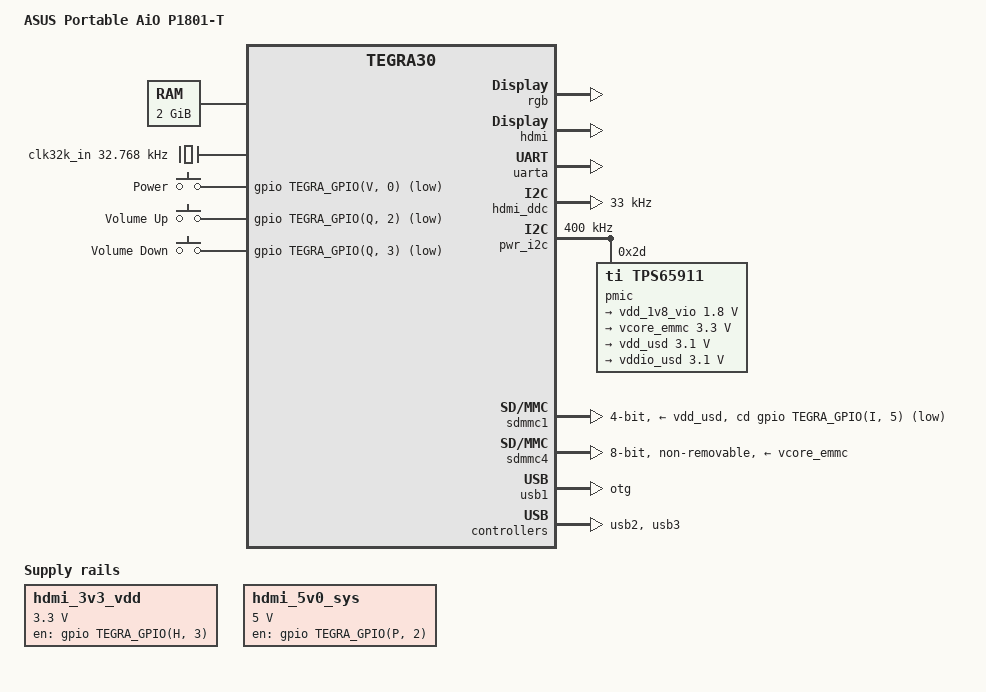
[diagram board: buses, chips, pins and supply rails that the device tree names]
// SPDX-License-Identifier: GPL-2.0
/dts-v1/;

#include <dt-bindings/input/input.h>
#include "tegra30.dtsi"

/ {
	model = "ASUS Portable AiO P1801-T";
	compatible = "asus,p1801-t", "nvidia,tegra30";

	chosen {
		stdout-path = &uarta;
	};

	aliases {
		i2c0 = &pwr_i2c;
		i2c1 = &hdmi_ddc;

		mmc0 = &sdmmc4;	/* eMMC */
		mmc1 = &sdmmc1; /* uSD slot */

		rtc0 = &pmic;
		rtc1 = "/rtc@7000e000";

		usb0 = &usb1;
		usb1 = &usb2; /* Mini USB */
		usb2 = &usb3; /* Dock USB */
	};

	memory {
		device_type = "memory";
		reg = <0x80000000 0x80000000>;
	};

	host1x@50000000 {
		dc@54200000 {
			clocks = <&tegra_car TEGRA30_CLK_DISP1>,
				 <&tegra_car TEGRA30_CLK_PLL_D_OUT0>;

			rgb {
				status = "okay";

				nvidia,panel = <&hdmi>;
			};
		};

		hdmi: hdmi@54280000 {
			clocks = <&tegra_car TEGRA30_CLK_HDMI>,
				 <&tegra_car TEGRA30_CLK_PLL_D_OUT0>;

			status = "okay";

			hdmi-supply = <&hdmi_5v0_sys>;
			pll-supply = <&vdd_1v8_vio>;
			vdd-supply = <&hdmi_3v3_vdd>;

			/* low: tablet, high: dock */
			nvidia,hpd-gpio = <&gpio TEGRA_GPIO(H, 4) GPIO_ACTIVE_LOW>;
			nvidia,ddc-i2c-bus = <&hdmi_ddc>;
		};
	};

	pinmux@70000868 {
		pinctrl-names = "default";
		pinctrl-0 = <&state_default>;

		state_default: pinmux {
			/* SDMMC1 pinmux */
			sdmmc1_clk {
				nvidia,pins = "sdmmc1_clk_pz0";
				nvidia,function = "sdmmc1";
				nvidia,pull = <TEGRA_PIN_PULL_NONE>;
				nvidia,tristate = <TEGRA_PIN_DISABLE>;
				nvidia,enable-input = <TEGRA_PIN_ENABLE>;
			};
			sdmmc1_cmd {
				nvidia,pins = "sdmmc1_dat3_py4",
						"sdmmc1_dat2_py5",
						"sdmmc1_dat1_py6",
						"sdmmc1_dat0_py7",
						"sdmmc1_cmd_pz1";
				nvidia,function = "sdmmc1";
				nvidia,pull = <TEGRA_PIN_PULL_UP>;
				nvidia,tristate = <TEGRA_PIN_DISABLE>;
				nvidia,enable-input = <TEGRA_PIN_ENABLE>;
			};
			sdmmc1_cd {
				nvidia,pins = "gmi_iordy_pi5";
				nvidia,function = "rsvd1";
				nvidia,pull = <TEGRA_PIN_PULL_UP>;
				nvidia,tristate = <TEGRA_PIN_DISABLE>;
				nvidia,enable-input = <TEGRA_PIN_ENABLE>;
			};
			sdmmc1_wp {
				nvidia,pins = "vi_d11_pt3";
				nvidia,function = "rsvd2";
				nvidia,pull = <TEGRA_PIN_PULL_UP>;
				nvidia,tristate = <TEGRA_PIN_DISABLE>;
				nvidia,enable-input = <TEGRA_PIN_ENABLE>;
			};

			/* SDMMC2 pinmux */
			vi_d1_pd5 {
				nvidia,pins = "vi_d1_pd5",
						"vi_d2_pl0",
						"vi_d3_pl1",
						"vi_d5_pl3",
						"vi_d7_pl5";
				nvidia,function = "sdmmc2";
				nvidia,pull = <TEGRA_PIN_PULL_NONE>;
				nvidia,tristate = <TEGRA_PIN_DISABLE>;
				nvidia,enable-input = <TEGRA_PIN_ENABLE>;
			};
			vi_d8_pl6 {
				nvidia,pins = "vi_d8_pl6",
						"vi_d9_pl7";
				nvidia,function = "sdmmc2";
				nvidia,pull = <TEGRA_PIN_PULL_NONE>;
				nvidia,tristate = <TEGRA_PIN_DISABLE>;
				nvidia,enable-input = <TEGRA_PIN_ENABLE>;
				nvidia,lock = <0>;
				nvidia,ioreset = <0>;
			};

			/* SDMMC3 pinmux */
			sdmmc3_clk {
				nvidia,pins = "sdmmc3_clk_pa6";
				nvidia,function = "sdmmc3";
				nvidia,pull = <TEGRA_PIN_PULL_NONE>;
				nvidia,tristate = <TEGRA_PIN_DISABLE>;
				nvidia,enable-input = <TEGRA_PIN_ENABLE>;
			};
			sdmmc3_cmd {
				nvidia,pins = "sdmmc3_cmd_pa7",
						"sdmmc3_dat0_pb7",
						"sdmmc3_dat1_pb6",
						"sdmmc3_dat2_pb5",
						"sdmmc3_dat3_pb4",
						"sdmmc3_dat4_pd1",
						"sdmmc3_dat5_pd0",
						"sdmmc3_dat6_pd3",
						"sdmmc3_dat7_pd4";
				nvidia,function = "sdmmc3";
				nvidia,pull = <TEGRA_PIN_PULL_UP>;
				nvidia,tristate = <TEGRA_PIN_DISABLE>;
				nvidia,enable-input = <TEGRA_PIN_ENABLE>;
			};

			/* SDMMC4 pinmux */
			sdmmc4_clk {
				nvidia,pins = "sdmmc4_clk_pcc4";
				nvidia,function = "sdmmc4";
				nvidia,pull = <TEGRA_PIN_PULL_NONE>;
				nvidia,tristate = <TEGRA_PIN_DISABLE>;
				nvidia,enable-input = <TEGRA_PIN_ENABLE>;
			};
			sdmmc4_cmd {
				nvidia,pins = "sdmmc4_cmd_pt7",
						"sdmmc4_dat0_paa0",
						"sdmmc4_dat1_paa1",
						"sdmmc4_dat2_paa2",
						"sdmmc4_dat3_paa3",
						"sdmmc4_dat4_paa4",
						"sdmmc4_dat5_paa5",
						"sdmmc4_dat6_paa6",
						"sdmmc4_dat7_paa7";
				nvidia,function = "sdmmc4";
				nvidia,pull = <TEGRA_PIN_PULL_UP>;
				nvidia,tristate = <TEGRA_PIN_DISABLE>;
				nvidia,enable-input = <TEGRA_PIN_ENABLE>;
			};
			sdmmc4_rst_n {
				nvidia,pins = "sdmmc4_rst_n_pcc3";
				nvidia,function = "rsvd2";
				nvidia,pull = <TEGRA_PIN_PULL_DOWN>;
				nvidia,tristate = <TEGRA_PIN_DISABLE>;
				nvidia,enable-input = <TEGRA_PIN_ENABLE>;
			};
			cam_mclk {
				nvidia,pins = "cam_mclk_pcc0";
				nvidia,function = "vi_alt3";
				nvidia,pull = <TEGRA_PIN_PULL_UP>;
				nvidia,tristate = <TEGRA_PIN_DISABLE>;
				nvidia,enable-input = <TEGRA_PIN_ENABLE>;
			};
			drive_sdmmc4 {
				nvidia,pins = "drive_gma",
						"drive_gmb",
						"drive_gmc",
						"drive_gmd";
				nvidia,pull-down-strength = <9>;
				nvidia,pull-up-strength = <9>;
				nvidia,slew-rate-rising = <TEGRA_PIN_SLEW_RATE_SLOWEST>;
				nvidia,slew-rate-falling = <TEGRA_PIN_SLEW_RATE_SLOWEST>;
			};

			/* I2C pinmux */
			gen1_i2c {
				nvidia,pins = "gen1_i2c_scl_pc4",
						"gen1_i2c_sda_pc5";
				nvidia,function = "i2c1";
				nvidia,pull = <TEGRA_PIN_PULL_NONE>;
				nvidia,tristate = <TEGRA_PIN_DISABLE>;
				nvidia,enable-input = <TEGRA_PIN_ENABLE>;
				nvidia,open-drain = <TEGRA_PIN_ENABLE>;
				nvidia,lock = <0>;
			};
			gen2_i2c {
				nvidia,pins = "gen2_i2c_scl_pt5",
						"gen2_i2c_sda_pt6";
				nvidia,function = "i2c2";
				nvidia,pull = <TEGRA_PIN_PULL_NONE>;
				nvidia,tristate = <TEGRA_PIN_DISABLE>;
				nvidia,enable-input = <TEGRA_PIN_ENABLE>;
				nvidia,open-drain = <TEGRA_PIN_ENABLE>;
				nvidia,lock = <0>;
			};
			cam_i2c {
				nvidia,pins = "cam_i2c_scl_pbb1",
						"cam_i2c_sda_pbb2";
				nvidia,function = "i2c3";
				nvidia,pull = <TEGRA_PIN_PULL_NONE>;
				nvidia,tristate = <TEGRA_PIN_DISABLE>;
				nvidia,enable-input = <TEGRA_PIN_ENABLE>;
				nvidia,open-drain = <TEGRA_PIN_ENABLE>;
				nvidia,lock = <0>;
			};
			ddc_i2c {
				nvidia,pins = "ddc_scl_pv4",
						"ddc_sda_pv5";
				nvidia,function = "i2c4";
				nvidia,pull = <TEGRA_PIN_PULL_NONE>;
				nvidia,tristate = <TEGRA_PIN_DISABLE>;
				nvidia,enable-input = <TEGRA_PIN_ENABLE>;
				nvidia,lock = <0>;
			};
			pwr_i2c {
				nvidia,pins = "pwr_i2c_scl_pz6",
						"pwr_i2c_sda_pz7";
				nvidia,function = "i2cpwr";
				nvidia,pull = <TEGRA_PIN_PULL_NONE>;
				nvidia,tristate = <TEGRA_PIN_DISABLE>;
				nvidia,enable-input = <TEGRA_PIN_ENABLE>;
				nvidia,open-drain = <TEGRA_PIN_ENABLE>;
				nvidia,lock = <0>;
			};
			hotplug_i2c {
				nvidia,pins = "pu4";
				nvidia,function = "rsvd4";
				nvidia,pull = <TEGRA_PIN_PULL_UP>;
				nvidia,tristate = <TEGRA_PIN_DISABLE>;
				nvidia,enable-input = <TEGRA_PIN_ENABLE>;
			};

			/* HDMI pinmux */
			hdmi_cec {
				nvidia,pins = "hdmi_cec_pee3";
				nvidia,function = "cec";
				nvidia,pull = <TEGRA_PIN_PULL_NONE>;
				nvidia,tristate = <TEGRA_PIN_DISABLE>;
				nvidia,enable-input = <TEGRA_PIN_ENABLE>;
				nvidia,open-drain = <TEGRA_PIN_ENABLE>;
				nvidia,lock = <0>;
			};
			hdmi_hpd {
				nvidia,pins = "hdmi_int_pn7";
				nvidia,function = "hdmi";
				nvidia,pull = <TEGRA_PIN_PULL_NONE>;
				nvidia,tristate = <TEGRA_PIN_ENABLE>;
				nvidia,enable-input = <TEGRA_PIN_ENABLE>;
			};

			/* UART-A */
			ulpi_data0_po1 {
				nvidia,pins = "ulpi_data0_po1";
				nvidia,function = "uarta";
				nvidia,pull = <TEGRA_PIN_PULL_NONE>;
				nvidia,tristate = <TEGRA_PIN_DISABLE>;
				nvidia,enable-input = <TEGRA_PIN_DISABLE>;
			};
			ulpi_data1_po2 {
				nvidia,pins = "ulpi_data1_po2";
				nvidia,function = "uarta";
				nvidia,pull = <TEGRA_PIN_PULL_DOWN>;
				nvidia,tristate = <TEGRA_PIN_ENABLE>;
				nvidia,enable-input = <TEGRA_PIN_ENABLE>;
			};
			ulpi_data5_po6 {
				nvidia,pins = "ulpi_data5_po6";
				nvidia,function = "uarta";
				nvidia,pull = <TEGRA_PIN_PULL_NONE>;
				nvidia,tristate = <TEGRA_PIN_ENABLE>;
				nvidia,enable-input = <TEGRA_PIN_ENABLE>;
			};
			ulpi_data7_po0 {
				nvidia,pins = "ulpi_data7_po0",
						"ulpi_data2_po3",
						"ulpi_data3_po4",
						"ulpi_data4_po5",
						"ulpi_data6_po7";
				nvidia,function = "uarta";
				nvidia,pull = <TEGRA_PIN_PULL_NONE>;
				nvidia,tristate = <TEGRA_PIN_DISABLE>;
				nvidia,enable-input = <TEGRA_PIN_ENABLE>;
			};

			/* UART-B */
			uartb_txd_rts {
				nvidia,pins = "uart2_txd_pc2",
						"uart2_rts_n_pj6";
				nvidia,function = "uartb";
				nvidia,pull = <TEGRA_PIN_PULL_NONE>;
				nvidia,tristate = <TEGRA_PIN_DISABLE>;
				nvidia,enable-input = <TEGRA_PIN_DISABLE>;
			};
			uartb_rxd_cts {
				nvidia,pins = "uart2_rxd_pc3",
						"uart2_cts_n_pj5";
				nvidia,function = "uartb";
				nvidia,pull = <TEGRA_PIN_PULL_NONE>;
				nvidia,tristate = <TEGRA_PIN_DISABLE>;
				nvidia,enable-input = <TEGRA_PIN_ENABLE>;
			};

			/* UART-C */
			uartc_rxd_cts {
				nvidia,pins = "uart3_cts_n_pa1",
						"uart3_rxd_pw7";
				nvidia,function = "uartc";
				nvidia,pull = <TEGRA_PIN_PULL_NONE>;
				nvidia,tristate = <TEGRA_PIN_DISABLE>;
				nvidia,enable-input = <TEGRA_PIN_ENABLE>;
			};
			uartc_txd_rts {
				nvidia,pins = "uart3_rts_n_pc0",
						"uart3_txd_pw6";
				nvidia,function = "uartc";
				nvidia,pull = <TEGRA_PIN_PULL_NONE>;
				nvidia,tristate = <TEGRA_PIN_DISABLE>;
				nvidia,enable-input = <TEGRA_PIN_DISABLE>;
			};

			/* UART-D */
			ulpi_nxt_py2 {
				nvidia,pins = "ulpi_nxt_py2";
				nvidia,function = "uartd";
				nvidia,pull = <TEGRA_PIN_PULL_NONE>;
				nvidia,tristate = <TEGRA_PIN_ENABLE>;
				nvidia,enable-input = <TEGRA_PIN_ENABLE>;
			};
			ulpi_clk_py0 {
				nvidia,pins = "ulpi_clk_py0",
						"ulpi_dir_py1",
						"ulpi_stp_py3";
				nvidia,function = "uartd";
				nvidia,pull = <TEGRA_PIN_PULL_NONE>;
				nvidia,tristate = <TEGRA_PIN_ENABLE>;
				nvidia,enable-input = <TEGRA_PIN_DISABLE>;
			};

			/* I2S pinmux */
			dap_i2s0 {
				nvidia,pins = "dap1_fs_pn0",
						"dap1_din_pn1",
						"dap1_dout_pn2",
						"dap1_sclk_pn3";
				nvidia,function = "i2s0";
				nvidia,pull = <TEGRA_PIN_PULL_NONE>;
				nvidia,tristate = <TEGRA_PIN_ENABLE>;
				nvidia,enable-input = <TEGRA_PIN_ENABLE>;
			};
			dap_i2s1 {
				nvidia,pins = "dap2_fs_pa2",
						"dap2_sclk_pa3",
						"dap2_din_pa4",
						"dap2_dout_pa5";
				nvidia,function = "i2s1";
				nvidia,pull = <TEGRA_PIN_PULL_NONE>;
				nvidia,tristate = <TEGRA_PIN_DISABLE>;
				nvidia,enable-input = <TEGRA_PIN_ENABLE>;
			};
			dap3_fs {
				nvidia,pins = "dap3_fs_pp0",
						"dap3_din_pp1";
				nvidia,function = "i2s2";
				nvidia,pull = <TEGRA_PIN_PULL_NONE>;
				nvidia,tristate = <TEGRA_PIN_ENABLE>;
				nvidia,enable-input = <TEGRA_PIN_ENABLE>;
			};
			dap3_dout {
				nvidia,pins = "dap3_dout_pp2",
						"dap3_sclk_pp3";
				nvidia,function = "i2s2";
				nvidia,pull = <TEGRA_PIN_PULL_NONE>;
				nvidia,tristate = <TEGRA_PIN_DISABLE>;
				nvidia,enable-input = <TEGRA_PIN_ENABLE>;
			};
			dap_i2s3 {
				nvidia,pins = "dap4_fs_pp4",
						"dap4_din_pp5",
						"dap4_dout_pp6",
						"dap4_sclk_pp7";
				nvidia,function = "i2s3";
				nvidia,pull = <TEGRA_PIN_PULL_NONE>;
				nvidia,tristate = <TEGRA_PIN_DISABLE>;
				nvidia,enable-input = <TEGRA_PIN_ENABLE>;
			};

			/* sensors pinmux */
			nct_irq {
				nvidia,pins = "pcc2";
				nvidia,function = "i2s4";
				nvidia,pull = <TEGRA_PIN_PULL_NONE>;
				nvidia,tristate = <TEGRA_PIN_DISABLE>;
				nvidia,enable-input = <TEGRA_PIN_ENABLE>;
			};

			/* Asus EC pinmux */
			ec_irqs {
				nvidia,pins = "kb_row10_ps2",
						"kb_row15_ps7";
				nvidia,function = "kbc";
				nvidia,pull = <TEGRA_PIN_PULL_UP>;
				nvidia,tristate = <TEGRA_PIN_DISABLE>;
				nvidia,enable-input = <TEGRA_PIN_ENABLE>;
			};
			ec_reqs {
				nvidia,pins = "kb_col1_pq1";
				nvidia,function = "kbc";
				nvidia,pull = <TEGRA_PIN_PULL_UP>;
				nvidia,tristate = <TEGRA_PIN_DISABLE>;
				nvidia,enable-input = <TEGRA_PIN_ENABLE>;
			};

			/* memory type bootstrap */
			mem_boostraps {
				nvidia,pins = "gmi_ad4_pg4",
						"gmi_ad5_pg5";
				nvidia,function = "nand";
				nvidia,pull = <TEGRA_PIN_PULL_NONE>;
				nvidia,tristate = <TEGRA_PIN_DISABLE>;
				nvidia,enable-input = <TEGRA_PIN_ENABLE>;
			};

			/* PCI-e pinmux */
			pex_l2_rst_n {
				nvidia,pins = "pex_l2_rst_n_pcc6",
						"pex_l0_rst_n_pdd1",
						"pex_l1_rst_n_pdd5";
				nvidia,function = "pcie";
				nvidia,pull = <TEGRA_PIN_PULL_NONE>;
				nvidia,tristate = <TEGRA_PIN_DISABLE>;
				nvidia,enable-input = <TEGRA_PIN_DISABLE>;
			};
			pex_l2_clkreq_n {
				nvidia,pins = "pex_l2_clkreq_n_pcc7",
						"pex_l0_prsnt_n_pdd0",
						"pex_l0_clkreq_n_pdd2",
						"pex_wake_n_pdd3",
						"pex_l1_prsnt_n_pdd4",
						"pex_l1_clkreq_n_pdd6",
						"pex_l2_prsnt_n_pdd7";
				nvidia,function = "pcie";
				nvidia,pull = <TEGRA_PIN_PULL_NONE>;
				nvidia,tristate = <TEGRA_PIN_DISABLE>;
				nvidia,enable-input = <TEGRA_PIN_ENABLE>;
			};

			/* SPI pinmux */
			spi1_mosi_px4 {
				nvidia,pins = "spi1_mosi_px4",
						"spi1_sck_px5",
						"spi1_cs0_n_px6",
						"spi1_miso_px7";
				nvidia,function = "spi1";
				nvidia,pull = <TEGRA_PIN_PULL_NONE>;
				nvidia,tristate = <TEGRA_PIN_ENABLE>;
				nvidia,enable-input = <TEGRA_PIN_ENABLE>;
			};
			spi2_cs1_n_pw2 {
				nvidia,pins = "spi2_cs1_n_pw2";
				nvidia,function = "spi2";
				nvidia,pull = <TEGRA_PIN_PULL_UP>;
				nvidia,tristate = <TEGRA_PIN_DISABLE>;
				nvidia,enable-input = <TEGRA_PIN_ENABLE>;
			};
			spi2_sck_px2 {
				nvidia,pins = "spi2_sck_px2";
				nvidia,function = "spi2";
				nvidia,pull = <TEGRA_PIN_PULL_NONE>;
				nvidia,tristate = <TEGRA_PIN_DISABLE>;
				nvidia,enable-input = <TEGRA_PIN_ENABLE>;
			};
			gmi_a17_pb0 {
				nvidia,pins = "gmi_a17_pb0",
						"gmi_a16_pj7";
				nvidia,function = "spi4";
				nvidia,pull = <TEGRA_PIN_PULL_NONE>;
				nvidia,tristate = <TEGRA_PIN_ENABLE>;
				nvidia,enable-input = <TEGRA_PIN_DISABLE>;
			};
			gmi_a18_pb1 {
				nvidia,pins = "gmi_a18_pb1";
				nvidia,function = "spi4";
				nvidia,pull = <TEGRA_PIN_PULL_UP>;
				nvidia,tristate = <TEGRA_PIN_DISABLE>;
				nvidia,enable-input = <TEGRA_PIN_ENABLE>;
			};
			gmi_a19_pk7 {
				nvidia,pins = "gmi_a19_pk7";
				nvidia,function = "spi4";
				nvidia,pull = <TEGRA_PIN_PULL_NONE>;
				nvidia,tristate = <TEGRA_PIN_DISABLE>;
				nvidia,enable-input = <TEGRA_PIN_ENABLE>;
			};

			/* Display A pinmux */
			lcd_pwr0_pb2 {
				nvidia,pins = "lcd_pwr0_pb2",
						"lcd_pclk_pb3",
						"lcd_pwr1_pc1",
						"lcd_d0_pe0",
						"lcd_d1_pe1",
						"lcd_d2_pe2",
						"lcd_d3_pe3",
						"lcd_d4_pe4",
						"lcd_d5_pe5",
						"lcd_d6_pe6",
						"lcd_d7_pe7",
						"lcd_d8_pf0",
						"lcd_d9_pf1",
						"lcd_d10_pf2",
						"lcd_d11_pf3",
						"lcd_d12_pf4",
						"lcd_d13_pf5",
						"lcd_d14_pf6",
						"lcd_d15_pf7",
						"lcd_de_pj1",
						"lcd_hsync_pj3",
						"lcd_vsync_pj4",
						"lcd_d16_pm0",
						"lcd_d17_pm1",
						"lcd_d18_pm2",
						"lcd_d19_pm3",
						"lcd_d20_pm4",
						"lcd_d21_pm5",
						"lcd_d22_pm6",
						"lcd_d23_pm7",
						"lcd_cs1_n_pw0",
						"lcd_dc0_pn6",
						"lcd_sck_pz4",
						"lcd_sdin_pz2";
				nvidia,function = "displaya";
				nvidia,pull = <TEGRA_PIN_PULL_NONE>;
				nvidia,tristate = <TEGRA_PIN_DISABLE>;
				nvidia,enable-input = <TEGRA_PIN_ENABLE>;
			};
			lcd_cs0_n_pn4 {
				nvidia,pins = "lcd_cs0_n_pn4",
						"lcd_sdout_pn5",
						"lcd_wr_n_pz3";
				nvidia,function = "displaya";
				nvidia,pull = <TEGRA_PIN_PULL_NONE>;
				nvidia,tristate = <TEGRA_PIN_ENABLE>;
				nvidia,enable-input = <TEGRA_PIN_ENABLE>;
			};

			blink {
				nvidia,pins = "clk_32k_out_pa0";
				nvidia,function = "blink";
				nvidia,pull = <TEGRA_PIN_PULL_NONE>;
				nvidia,tristate = <TEGRA_PIN_DISABLE>;
				nvidia,enable-input = <TEGRA_PIN_DISABLE>;
			};

			/* KBC keys */
			kb_col0_pq0 {
				nvidia,pins = "kb_col0_pq0";
				nvidia,function = "kbc";
				nvidia,pull = <TEGRA_PIN_PULL_NONE>;
				nvidia,tristate = <TEGRA_PIN_ENABLE>;
				nvidia,enable-input = <TEGRA_PIN_DISABLE>;
			};
			kb_col1_pq1 {
				nvidia,pins = "kb_row1_pr1",
						"kb_row3_pr3",
						"kb_row9_ps1",
						"kb_row11_ps3",
						"kb_row14_ps6",
						"kb_col6_pq6";
				nvidia,function = "kbc";
				nvidia,pull = <TEGRA_PIN_PULL_UP>;
				nvidia,tristate = <TEGRA_PIN_DISABLE>;
				nvidia,enable-input = <TEGRA_PIN_ENABLE>;
			};
			kb_col4_pq4 {
				nvidia,pins = "kb_col4_pq4",
						"kb_col5_pq5",
						"kb_col7_pq7",
						"kb_row2_pr2",
						"kb_row4_pr4",
						"kb_row5_pr5",
						"kb_row12_ps4",
						"kb_row13_ps5";
				nvidia,function = "kbc";
				nvidia,pull = <TEGRA_PIN_PULL_NONE>;
				nvidia,tristate = <TEGRA_PIN_ENABLE>;
				nvidia,enable-input = <TEGRA_PIN_ENABLE>;
			};

			gmi_wp_n_pc7 {
				nvidia,pins = "gmi_wp_n_pc7",
						"gmi_wait_pi7",
						"gmi_cs3_n_pk4";
				nvidia,function = "rsvd1";
				nvidia,pull = <TEGRA_PIN_PULL_NONE>;
				nvidia,tristate = <TEGRA_PIN_ENABLE>;
				nvidia,enable-input = <TEGRA_PIN_DISABLE>;
			};
			gmi_cs0_n_pj0 {
				nvidia,pins = "gmi_cs0_n_pj0",
						"gmi_cs1_n_pj2",
						"gmi_cs2_n_pk3";
				nvidia,function = "rsvd1";
				nvidia,pull = <TEGRA_PIN_PULL_NONE>;
				nvidia,tristate = <TEGRA_PIN_ENABLE>;
				nvidia,enable-input = <TEGRA_PIN_ENABLE>;
			};
			vi_pclk_pt0 {
				nvidia,pins = "vi_pclk_pt0";
				nvidia,function = "rsvd1";
				nvidia,pull = <TEGRA_PIN_PULL_UP>;
				nvidia,tristate = <TEGRA_PIN_ENABLE>;
				nvidia,enable-input = <TEGRA_PIN_ENABLE>;
				nvidia,lock = <0>;
				nvidia,ioreset = <0>;
			};

			/* GPIO keys pinmux */
			power_key {
				nvidia,pins = "pv0";
				nvidia,function = "rsvd1";
				nvidia,pull = <TEGRA_PIN_PULL_UP>;
				nvidia,tristate = <TEGRA_PIN_ENABLE>;
				nvidia,enable-input = <TEGRA_PIN_ENABLE>;
			};
			vol_keys {
				nvidia,pins = "kb_col2_pq2",
						"kb_col3_pq3";
				nvidia,function = "rsvd4";
				nvidia,pull = <TEGRA_PIN_PULL_UP>;
				nvidia,tristate = <TEGRA_PIN_ENABLE>;
				nvidia,enable-input = <TEGRA_PIN_ENABLE>;
			};

			/* Bluetooth */
			bt_shutdown {
				nvidia,pins = "pu0";
				nvidia,function = "rsvd4";
				nvidia,pull = <TEGRA_PIN_PULL_NONE>;
				nvidia,tristate = <TEGRA_PIN_DISABLE>;
				nvidia,enable-input = <TEGRA_PIN_ENABLE>;
			};
			bt_dev_wake {
				nvidia,pins = "pu1";
				nvidia,function = "rsvd1";
				nvidia,pull = <TEGRA_PIN_PULL_NONE>;
				nvidia,tristate = <TEGRA_PIN_DISABLE>;
				nvidia,enable-input = <TEGRA_PIN_DISABLE>;
			};
			bt_host_wake {
				nvidia,pins = "pu6";
				nvidia,function = "rsvd4";
				nvidia,pull = <TEGRA_PIN_PULL_DOWN>;
				nvidia,tristate = <TEGRA_PIN_DISABLE>;
				nvidia,enable-input = <TEGRA_PIN_ENABLE>;
			};

			pu2 {
				nvidia,pins = "pu2";
				nvidia,function = "rsvd1";
				nvidia,pull = <TEGRA_PIN_PULL_NONE>;
				nvidia,tristate = <TEGRA_PIN_DISABLE>;
				nvidia,enable-input = <TEGRA_PIN_ENABLE>;
			};
			pu3 {
				nvidia,pins = "pu3";
				nvidia,function = "rsvd4";
				nvidia,pull = <TEGRA_PIN_PULL_NONE>;
				nvidia,tristate = <TEGRA_PIN_DISABLE>;
				nvidia,enable-input = <TEGRA_PIN_DISABLE>;
			};
			pcc1 {
				nvidia,pins = "pcc1";
				nvidia,function = "rsvd2";
				nvidia,pull = <TEGRA_PIN_PULL_NONE>;
				nvidia,tristate = <TEGRA_PIN_ENABLE>;
				nvidia,enable-input = <TEGRA_PIN_ENABLE>;
			};
			pv2 {
				nvidia,pins = "pv2";
				nvidia,function = "rsvd2";
				nvidia,pull = <TEGRA_PIN_PULL_NONE>;
				nvidia,tristate = <TEGRA_PIN_DISABLE>;
				nvidia,enable-input = <TEGRA_PIN_DISABLE>;
			};
			pv3 {
				nvidia,pins = "pv3";
				nvidia,function = "rsvd2";
				nvidia,pull = <TEGRA_PIN_PULL_NONE>;
				nvidia,tristate = <TEGRA_PIN_ENABLE>;
				nvidia,enable-input = <TEGRA_PIN_DISABLE>;
			};
			vi_vsync_pd6 {
				nvidia,pins = "vi_vsync_pd6",
						"vi_hsync_pd7";
				nvidia,function = "rsvd2";
				nvidia,pull = <TEGRA_PIN_PULL_NONE>;
				nvidia,tristate = <TEGRA_PIN_DISABLE>;
				nvidia,enable-input = <TEGRA_PIN_ENABLE>;
				nvidia,lock = <0>;
				nvidia,ioreset = <0>;
			};
			vi_d10_pt2 {
				nvidia,pins = "vi_d10_pt2",
						"vi_d0_pt4", "pbb0";
				nvidia,function = "rsvd2";
				nvidia,pull = <TEGRA_PIN_PULL_NONE>;
				nvidia,tristate = <TEGRA_PIN_DISABLE>;
				nvidia,enable-input = <TEGRA_PIN_ENABLE>;
			};

			kb_row0_pr0 {
				nvidia,pins = "kb_row0_pr0";
				nvidia,function = "rsvd4";
				nvidia,pull = <TEGRA_PIN_PULL_UP>;
				nvidia,tristate = <TEGRA_PIN_DISABLE>;
				nvidia,enable-input = <TEGRA_PIN_DISABLE>;
			};

			gmi_ad0_pg0 {
				nvidia,pins = "gmi_ad0_pg0",
						"gmi_ad1_pg1",
						"gmi_ad2_pg2",
						"gmi_ad3_pg3",
						"gmi_ad6_pg6",
						"gmi_ad7_pg7",
						"gmi_wr_n_pi0",
						"gmi_oe_n_pi1",
						"gmi_dqs_pi2",
						"gmi_adv_n_pk0",
						"gmi_clk_pk1";
				nvidia,function = "nand";
				nvidia,pull = <TEGRA_PIN_PULL_NONE>;
				nvidia,tristate = <TEGRA_PIN_ENABLE>;
				nvidia,enable-input = <TEGRA_PIN_DISABLE>;
			};
			gmi_ad13_ph5 {
				nvidia,pins = "gmi_ad13_ph5";
				nvidia,function = "nand";
				nvidia,pull = <TEGRA_PIN_PULL_NONE>;
				nvidia,tristate = <TEGRA_PIN_DISABLE>;
				nvidia,enable-input = <TEGRA_PIN_ENABLE>;
			};
			gmi_ad10_ph2 {
				nvidia,pins = "gmi_ad10_ph2",
						"gmi_ad11_ph3",
						"gmi_ad14_ph6";
				nvidia,function = "nand";
				nvidia,pull = <TEGRA_PIN_PULL_NONE>;
				nvidia,tristate = <TEGRA_PIN_DISABLE>;
				nvidia,enable-input = <TEGRA_PIN_DISABLE>;
			};
			gmi_ad12_ph4 {
				nvidia,pins = "gmi_ad12_ph4",
						"gmi_rst_n_pi4";
				nvidia,function = "nand";
				nvidia,pull = <TEGRA_PIN_PULL_UP>;
				nvidia,tristate = <TEGRA_PIN_DISABLE>;
				nvidia,enable-input = <TEGRA_PIN_ENABLE>;
			};
			/* USB2 VBUS control */
			usb2_vbus_control {
				nvidia,pins = "gmi_ad15_ph7";
				nvidia,function = "nand";
				nvidia,pull = <TEGRA_PIN_PULL_DOWN>;
				nvidia,tristate = <TEGRA_PIN_DISABLE>;
				nvidia,enable-input = <TEGRA_PIN_DISABLE>;
			};
			/* PWM pinmux */
			pwm_0 {
				nvidia,pins = "gmi_ad8_ph0";
				nvidia,function = "pwm0";
				nvidia,pull = <TEGRA_PIN_PULL_NONE>;
				nvidia,tristate = <TEGRA_PIN_DISABLE>;
				nvidia,enable-input = <TEGRA_PIN_DISABLE>;
			};
			pwm_1 {
				nvidia,pins = "gmi_ad9_ph1";
				nvidia,function = "pwm1";
				nvidia,pull = <TEGRA_PIN_PULL_NONE>;
				nvidia,tristate = <TEGRA_PIN_DISABLE>;
				nvidia,enable-input = <TEGRA_PIN_DISABLE>;
			};
			pwm_2 {
				nvidia,pins = "pu5";
				nvidia,function = "pwm2";
				nvidia,pull = <TEGRA_PIN_PULL_NONE>;
				nvidia,tristate = <TEGRA_PIN_DISABLE>;
				nvidia,enable-input = <TEGRA_PIN_ENABLE>;
			};

			/* S/PDIF pinmux */
			spdif_out {
				nvidia,pins = "spdif_out_pk5";
				nvidia,function = "spdif";
				nvidia,pull = <TEGRA_PIN_PULL_NONE>;
				nvidia,tristate = <TEGRA_PIN_ENABLE>;
				nvidia,enable-input = <TEGRA_PIN_DISABLE>;
			};
			spdif_in {
				nvidia,pins = "spdif_in_pk6";
				nvidia,function = "spdif";
				nvidia,pull = <TEGRA_PIN_PULL_NONE>;
				nvidia,tristate = <TEGRA_PIN_ENABLE>;
				nvidia,enable-input = <TEGRA_PIN_ENABLE>;
			};
			vi_d4_pl2 {
				nvidia,pins = "vi_d4_pl2";
				nvidia,function = "vi";
				nvidia,pull = <TEGRA_PIN_PULL_NONE>;
				nvidia,tristate = <TEGRA_PIN_DISABLE>;
				nvidia,enable-input = <TEGRA_PIN_DISABLE>;
			};
			vi_d6_pl4 {
				nvidia,pins = "vi_d6_pl4";
				nvidia,function = "vi";
				nvidia,pull = <TEGRA_PIN_PULL_NONE>;
				nvidia,tristate = <TEGRA_PIN_DISABLE>;
				nvidia,enable-input = <TEGRA_PIN_DISABLE>;
				nvidia,lock = <0>;
				nvidia,ioreset = <0>;
			};
			vi_mclk_pt1 {
				nvidia,pins = "vi_mclk_pt1";
				nvidia,function = "vi";
				nvidia,pull = <TEGRA_PIN_PULL_UP>;
				nvidia,tristate = <TEGRA_PIN_DISABLE>;
				nvidia,enable-input = <TEGRA_PIN_ENABLE>;
			};
			jtag_rtck {
				nvidia,pins = "jtag_rtck_pu7";
				nvidia,function = "rtck";
				nvidia,pull = <TEGRA_PIN_PULL_NONE>;
				nvidia,tristate = <TEGRA_PIN_DISABLE>;
				nvidia,enable-input = <TEGRA_PIN_DISABLE>;
			};

			crt_hsync_pv6 {
				nvidia,pins = "crt_hsync_pv6",
						"crt_vsync_pv7";
				nvidia,function = "crt";
				nvidia,pull = <TEGRA_PIN_PULL_NONE>;
				nvidia,tristate = <TEGRA_PIN_ENABLE>;
				nvidia,enable-input = <TEGRA_PIN_DISABLE>;
			};

			clk1_out {
				nvidia,pins = "clk1_out_pw4";
				nvidia,function = "extperiph1";
				nvidia,pull = <TEGRA_PIN_PULL_NONE>;
				nvidia,tristate = <TEGRA_PIN_DISABLE>;
				nvidia,enable-input = <TEGRA_PIN_ENABLE>;
			};
			clk2_out {
				nvidia,pins = "clk2_out_pw5";
				nvidia,function = "extperiph2";
				nvidia,pull = <TEGRA_PIN_PULL_NONE>;
				nvidia,tristate = <TEGRA_PIN_DISABLE>;
				nvidia,enable-input = <TEGRA_PIN_ENABLE>;
			};
			clk3_out {
				nvidia,pins = "clk3_out_pee0";
				nvidia,function = "extperiph3";
				nvidia,pull = <TEGRA_PIN_PULL_NONE>;
				nvidia,tristate = <TEGRA_PIN_ENABLE>;
				nvidia,enable-input = <TEGRA_PIN_DISABLE>;
			};
			sys_clk_req {
				nvidia,pins = "sys_clk_req_pz5";
				nvidia,function = "sysclk";
				nvidia,pull = <TEGRA_PIN_PULL_NONE>;
				nvidia,tristate = <TEGRA_PIN_DISABLE>;
				nvidia,enable-input = <TEGRA_PIN_DISABLE>;
			};
			pbb4 {
				nvidia,pins = "pbb4";
				nvidia,function = "vgp4";
				nvidia,pull = <TEGRA_PIN_PULL_NONE>;
				nvidia,tristate = <TEGRA_PIN_DISABLE>;
				nvidia,enable-input = <TEGRA_PIN_ENABLE>;
			};
			pbb5 {
				nvidia,pins = "pbb5";
				nvidia,function = "vgp5";
				nvidia,pull = <TEGRA_PIN_PULL_NONE>;
				nvidia,tristate = <TEGRA_PIN_DISABLE>;
				nvidia,enable-input = <TEGRA_PIN_ENABLE>;
			};
			pbb6 {
				nvidia,pins = "pbb6";
				nvidia,function = "vgp6";
				nvidia,pull = <TEGRA_PIN_PULL_NONE>;
				nvidia,tristate = <TEGRA_PIN_DISABLE>;
				nvidia,enable-input = <TEGRA_PIN_ENABLE>;
			};
			clk2_req_pcc5 {
				nvidia,pins = "clk2_req_pcc5",
						"clk1_req_pee2";
				nvidia,function = "dap";
				nvidia,pull = <TEGRA_PIN_PULL_NONE>;
				nvidia,tristate = <TEGRA_PIN_DISABLE>;
				nvidia,enable-input = <TEGRA_PIN_ENABLE>;
			};
			clk3_req_pee1 {
				nvidia,pins = "clk3_req_pee1";
				nvidia,function = "dev3";
				nvidia,pull = <TEGRA_PIN_PULL_NONE>;
				nvidia,tristate = <TEGRA_PIN_ENABLE>;
				nvidia,enable-input = <TEGRA_PIN_ENABLE>;
			};
			owr {
				nvidia,pins = "owr";
				nvidia,function = "owr";
				nvidia,pull = <TEGRA_PIN_PULL_NONE>;
				nvidia,tristate = <TEGRA_PIN_DISABLE>;
				nvidia,enable-input = <TEGRA_PIN_ENABLE>;
			};

			/* P1801-T specific pinmux */
			lcd_pwr2 {
				nvidia,pins = "lcd_pwr2_pc6",
						"lcd_dc1_pd2";
				nvidia,function = "displaya";
				nvidia,pull = <TEGRA_PIN_PULL_NONE>;
				nvidia,tristate = <TEGRA_PIN_ENABLE>;
				nvidia,enable-input = <TEGRA_PIN_ENABLE>;
			};
			lcd_m1 {
				nvidia,pins = "lcd_m1_pw1";
				nvidia,function = "displaya";
				nvidia,pull = <TEGRA_PIN_PULL_DOWN>;
				nvidia,tristate = <TEGRA_PIN_ENABLE>;
				nvidia,enable-input = <TEGRA_PIN_DISABLE>;
			};
			key_mode {
				nvidia,pins = "gmi_cs4_n_pk2";
				nvidia,function = "rsvd4";
				nvidia,pull = <TEGRA_PIN_PULL_UP>;
				nvidia,tristate = <TEGRA_PIN_ENABLE>;
				nvidia,enable-input = <TEGRA_PIN_ENABLE>;
			};
			splashtop {
				nvidia,pins = "gmi_cs6_n_pi3";
				nvidia,function = "nand_alt";
				nvidia,pull = <TEGRA_PIN_PULL_NONE>;
				nvidia,tristate = <TEGRA_PIN_DISABLE>;
				nvidia,enable-input = <TEGRA_PIN_DISABLE>;
			};
			w8_detect {
				nvidia,pins = "gmi_cs7_n_pi6";
				nvidia,function = "nand_alt";
				nvidia,pull = <TEGRA_PIN_PULL_UP>;
				nvidia,tristate = <TEGRA_PIN_ENABLE>;
				nvidia,enable-input = <TEGRA_PIN_ENABLE>;
			};
			pbb3 {
				nvidia,pins = "pbb3";
				nvidia,function = "vgp3";
				nvidia,pull = <TEGRA_PIN_PULL_NONE>;
				nvidia,tristate = <TEGRA_PIN_DISABLE>;
				nvidia,enable-input = <TEGRA_PIN_ENABLE>;
			};
			pbb7 {
				nvidia,pins = "pbb7";
				nvidia,function = "i2s4";
				nvidia,pull = <TEGRA_PIN_PULL_NONE>;
				nvidia,tristate = <TEGRA_PIN_DISABLE>;
				nvidia,enable-input = <TEGRA_PIN_ENABLE>;
			};
			spi2_mosi_px0 {
				nvidia,pins = "spi2_mosi_px0";
				nvidia,function = "spi6";
				nvidia,pull = <TEGRA_PIN_PULL_DOWN>;
				nvidia,tristate = <TEGRA_PIN_ENABLE>;
				nvidia,enable-input = <TEGRA_PIN_ENABLE>;
			};
			tp_vendor {
				nvidia,pins = "kb_row6_pr6",
						"kb_row7_pr7";
				nvidia,function = "kbc";
				nvidia,pull = <TEGRA_PIN_PULL_UP>;
				nvidia,tristate = <TEGRA_PIN_DISABLE>;
				nvidia,enable-input = <TEGRA_PIN_ENABLE>;
			};
			tp_power {
				nvidia,pins = "kb_row8_ps0";
				nvidia,function = "kbc";
				nvidia,pull = <TEGRA_PIN_PULL_NONE>;
				nvidia,tristate = <TEGRA_PIN_DISABLE>;
				nvidia,enable-input = <TEGRA_PIN_DISABLE>;
			};

			/* GPIO power/drive control */
			drive_dap1 {
				nvidia,pins = "drive_dap1",
						"drive_dap2",
						"drive_dbg",
						"drive_at5",
						"drive_gme",
						"drive_ddc",
						"drive_ao1",
						"drive_uart3";
				nvidia,high-speed-mode = <TEGRA_PIN_DISABLE>;
				nvidia,schmitt = <TEGRA_PIN_ENABLE>;
				nvidia,low-power-mode = <TEGRA_PIN_LP_DRIVE_DIV_1>;
				nvidia,pull-down-strength = <31>;
				nvidia,pull-up-strength = <31>;
				nvidia,slew-rate-rising = <TEGRA_PIN_SLEW_RATE_FASTEST>;
				nvidia,slew-rate-falling = <TEGRA_PIN_SLEW_RATE_FASTEST>;
			};
			drive_sdio1 {
				nvidia,pins = "drive_sdio1",
						"drive_sdio3";
				nvidia,high-speed-mode = <TEGRA_PIN_DISABLE>;
				nvidia,schmitt = <TEGRA_PIN_DISABLE>;
				nvidia,pull-down-strength = <46>;
				nvidia,pull-up-strength = <42>;
				nvidia,slew-rate-rising = <TEGRA_PIN_SLEW_RATE_FAST>;
				nvidia,slew-rate-falling = <TEGRA_PIN_SLEW_RATE_FAST>;
			};
		};
	};

	uarta: serial@70006000 {
		status = "okay";
	};

	hdmi_ddc: i2c@7000c700 {
		status = "okay";
		clock-frequency = <33000>;
	};

	pwr_i2c: i2c@7000d000 {
		status = "okay";
		clock-frequency = <400000>;

		/* Texas Instruments TPS659110 PMIC */
		pmic: tps65911@2d {
			compatible = "ti,tps65911";
			reg = <0x2d>;

			interrupts = <GIC_SPI 86 IRQ_TYPE_LEVEL_HIGH>;
			#interrupt-cells = <2>;
			interrupt-controller;

			ti,system-power-controller;

			#gpio-cells = <2>;
			gpio-controller;

			regulators {
				vdd_1v8_vio: vddio {
					regulator-name = "vdd_1v8_gen";
					regulator-min-microvolt = <1800000>;
					regulator-max-microvolt = <1800000>;
					regulator-always-on;
					regulator-boot-on;
				};

				/* eMMC VDD */
				vcore_emmc: ldo1 {
					regulator-name = "vdd_emmc_core";
					regulator-min-microvolt = <3300000>;
					regulator-max-microvolt = <3300000>;
					regulator-boot-on;
				};

				/* uSD slot VDD */
				vdd_usd: ldo2 {
					regulator-name = "vdd_usd";
					regulator-min-microvolt = <3100000>;
					regulator-max-microvolt = <3100000>;
					regulator-boot-on;
				};

				/* uSD slot VDDIO */
				vddio_usd: ldo3 {
					regulator-name = "vddio_usd";
					regulator-min-microvolt = <3100000>;
					regulator-max-microvolt = <3100000>;
					regulator-always-on;
					regulator-boot-on;
				};
			};
		};
	};

	sdmmc1: sdhci@78000000 {
		status = "okay";
		bus-width = <4>;

		cd-gpios = <&gpio TEGRA_GPIO(I, 5) GPIO_ACTIVE_LOW>;
		power-gpios = <&gpio TEGRA_GPIO(D, 7) GPIO_ACTIVE_HIGH>;

		vmmc-supply = <&vdd_usd>;
		vqmmc-supply = <&vddio_usd>;
	};

	sdmmc4: sdhci@78000600 {
		status = "okay";
		bus-width = <8>;
		non-removable;

		vmmc-supply = <&vcore_emmc>;
		vqmmc-supply = <&vdd_1v8_vio>;
	};

	/* USB via ASUS connector */
	usb1: usb@7d000000 {
		status = "okay";
		dr_mode = "otg";
	};

	usb-phy@7d000000 {
		status = "okay";
		nvidia,hssync-start-delay = <0>;
		nvidia,xcvr-lsfslew = <2>;
		nvidia,xcvr-lsrslew = <2>;
	};

	/* Mini USB port */
	usb2: usb@7d004000 {
		status = "okay";
		nvidia,vbus-gpio = <&gpio TEGRA_GPIO(H, 7) GPIO_ACTIVE_HIGH>;
	};

	usb-phy@7d004000 {
		status = "okay";
	};

	/* Dock's USB port */
	usb3: usb@7d008000 {
		status = "okay";
	};

	usb-phy@7d008000 {
		status = "okay";
	};

	/* PMIC has a built-in 32KHz oscillator which is used by PMC */
	clk32k_in: clock-32k {
		compatible = "fixed-clock";
		#clock-cells = <0>;
		clock-frequency = <32768>;
		clock-output-names = "pmic-oscillator";
	};

	gpio-keys {
		compatible = "gpio-keys";

		key-power {
			label = "Power";
			gpios = <&gpio TEGRA_GPIO(V, 0) GPIO_ACTIVE_LOW>;
			linux,code = <KEY_ENTER>;
		};

		key-volume-up {
			label = "Volume Up";
			gpios = <&gpio TEGRA_GPIO(Q, 2) GPIO_ACTIVE_LOW>;
			linux,code = <KEY_UP>;
		};

		key-volume-down {
			label = "Volume Down";
			gpios = <&gpio TEGRA_GPIO(Q, 3) GPIO_ACTIVE_LOW>;
			linux,code = <KEY_DOWN>;
		};
	};

	hdmi_3v3_vdd: regulator-vdd {
		compatible = "regulator-fixed";
		regulator-name = "hdmi_3v3_vdd";
		regulator-min-microvolt = <3300000>;
		regulator-max-microvolt = <3300000>;
		gpio = <&gpio TEGRA_GPIO(H, 3) GPIO_ACTIVE_HIGH>;
		enable-active-high;
	};

	hdmi_5v0_sys: regulator-hdmi {
		compatible = "regulator-fixed";
		regulator-name = "hdmi_5v0_sys";
		regulator-min-microvolt = <5000000>;
		regulator-max-microvolt = <5000000>;
		gpio = <&gpio TEGRA_GPIO(P, 2) GPIO_ACTIVE_HIGH>;
		enable-active-high;
	};
};
